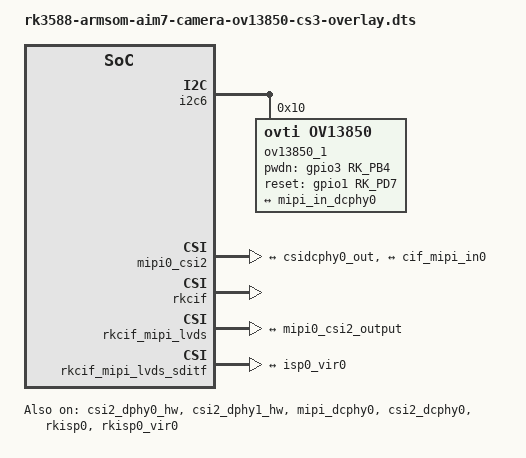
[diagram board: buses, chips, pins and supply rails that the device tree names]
/dts-v1/;
/plugin/;

#include <dt-bindings/clock/rk3588-cru.h>
#include <dt-bindings/power/rk3588-power.h>
#include <dt-bindings/gpio/gpio.h>
#include <dt-bindings/pinctrl/rockchip.h>

/*
 * AIM7 CS3 (J24), OV13850 on i2c6.
 * csi2_dcphy0 -> mipi0_csi2 -> rkcif_mipi_lvds -> rkisp0_vir0.
 * Load independently or together with the other AIM7 per-connector overlays.
 */

/ {
	fragment@0 {
		target = <&i2c6>;
		__overlay__ {
			#address-cells = <1>;
			#size-cells = <0>;
			status = "okay";
			pinctrl-names = "default";
			pinctrl-0 = <&i2c6m1_xfer>;
			ov13850_1: ov13850_1@10 {
				status = "okay";
				compatible = "ovti,ov13850";
				reg = <0x10>;
				clocks = <&cru CLK_MIPI_CAMARAOUT_M4>;
				clock-names = "xvclk";
				pinctrl-names = "rockchip,camera_default";
				pinctrl-0 = <&mipim1_camera4_clk>; /* GPIO3_B1 */
				pwdn-gpios = <&gpio3 RK_PB4 GPIO_ACTIVE_HIGH>;
				reset-gpios = <&gpio1 RK_PD7 GPIO_ACTIVE_HIGH>;
				rockchip,camera-module-index = <2>;
				rockchip,camera-module-facing = "back";
				rockchip,camera-module-name = "ZC-OV13850R2A-V1";
				rockchip,camera-module-lens-name = "Largan-50064B31";
				port {
					ov13850_out: endpoint {
						remote-endpoint = <&mipi_in_dcphy0>;
						data-lanes = <1 2 3 4>;
					};
				};
			};
		};
	};

	fragment@1 {
		target = <&csi2_dphy0_hw>;

		__overlay__ {
			status = "okay";
		};
	};

	fragment@2 {
		target = <&csi2_dphy1_hw>;

		__overlay__ {
			status = "okay";
		};
	};

	fragment@3 {
		target = <&mipi_dcphy0>;

		__overlay__ {
			status = "okay";

		};
	};

	fragment@4 {
		target = <&csi2_dcphy0>;

		__overlay__ {
			status = "okay";
			ports {
				#address-cells = <1>;
				#size-cells = <0>;
				port@0 {
					reg = <0>;
					#address-cells = <1>;
					#size-cells = <0>;

					mipi_in_dcphy0: endpoint@1 {
						reg = <1>;
						remote-endpoint = <&ov13850_out>;
						data-lanes = <1 2 3 4>;
					};
				};
				port@1 {
					reg = <1>;
					#address-cells = <1>;
					#size-cells = <0>;

					csidcphy0_out: endpoint@0 {
						reg = <0>;
						remote-endpoint = <&mipi1_csi2_input>;
					};
				};
			};
		};
	};

	fragment@5 {
		target = <&mipi0_csi2>;

		__overlay__ {
			status = "okay";
			ports {
				#address-cells = <1>;
				#size-cells = <0>;

				port@0 {
					reg = <0>;
					#address-cells = <1>;
					#size-cells = <0>;

					mipi1_csi2_input: endpoint@1 {
						reg = <1>;
						remote-endpoint = <&csidcphy0_out>;
					};
				};

				port@1 {
					reg = <1>;
					#address-cells = <1>;
					#size-cells = <0>;

					mipi0_csi2_output: endpoint@0 {
						reg = <0>;
						remote-endpoint = <&cif_mipi_in0>;
					};
				};
			};
		};
	};

	fragment@6 {
		target = <&rkcif>;

		__overlay__ {
			status = "okay";
		};
	};

	fragment@7 {
		target = <&rkcif_mipi_lvds>;

		__overlay__ {
			status = "okay";
			port {
				cif_mipi_in0: endpoint {
					remote-endpoint = <&mipi0_csi2_output>;
				};
			};
		};
	};

	fragment@8 {
		target = <&rkcif_mipi_lvds_sditf>;

		__overlay__ {
			status = "okay";
			port {
				mipi_lvds_sditf: endpoint {
					remote-endpoint = <&isp0_vir0>;
				};
			};
		};
	};

	fragment@9{
		target = <&rkcif_mmu>;

		__overlay__ {
			status = "okay";
		};
	};

	fragment@10{
		target = <&rkisp0>;

		__overlay__ {
			status = "okay";
		};
	};

	fragment@11{
		target = <&isp0_mmu>;

		__overlay__ {
			status = "okay";
		};
	};

	fragment@12{
		target = <&rkisp0_vir0>;

		__overlay__ {
			status = "okay";
			port {
				#address-cells = <1>;
				#size-cells = <0>;

				isp0_vir0: endpoint@0 {
					reg = <0>;
					remote-endpoint = <&mipi_lvds_sditf>;
				};
			};
		};
	};
};
